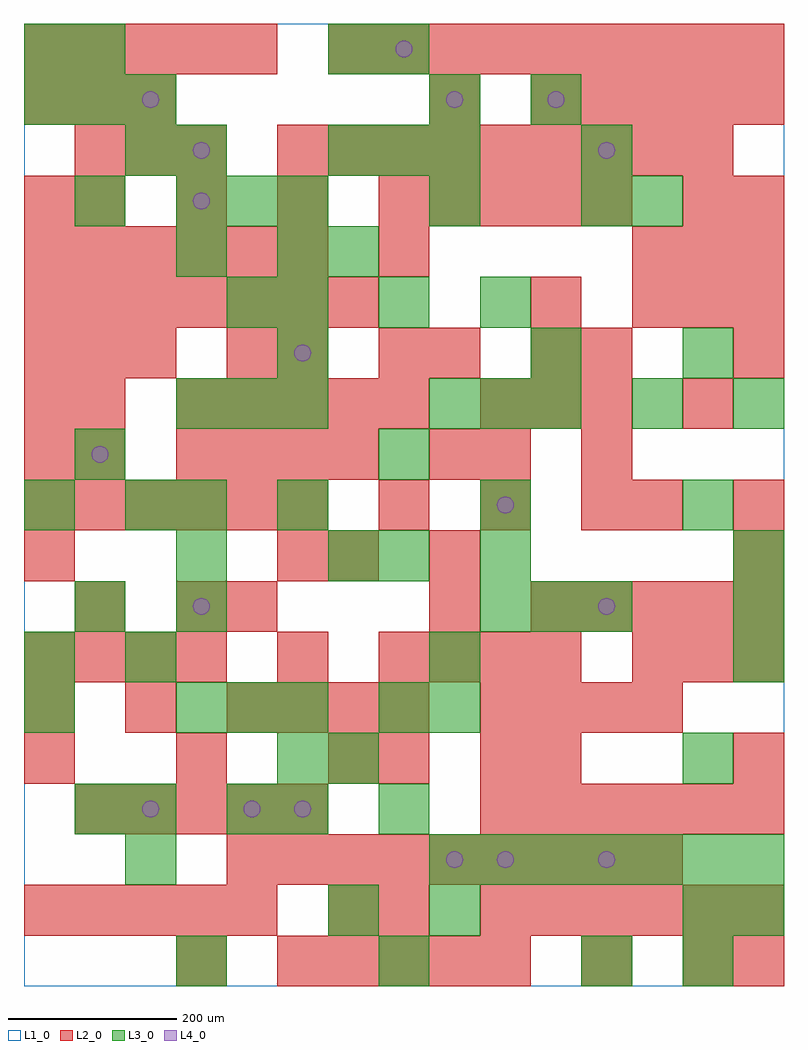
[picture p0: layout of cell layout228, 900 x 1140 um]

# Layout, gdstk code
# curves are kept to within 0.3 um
import gdstk
lib = gdstk.Library(unit=1e-6, precision=1e-09)
def R(c, l, rs):  # rectangles x0, y0, x1, y1
    for r in rs: c.add(gdstk.rectangle(r[:2], r[2:], *l))
def A(c, l, x, y, w, h, nx, ny, dx, dy):  # array of equal rectangles
    R(c, l, [(x+i*dx, y+j*dy, x+i*dx+w, y+j*dy+h) for i in range(nx) for j in range(ny)])
def P(c, l, *ps):  # polygons
    for p in ps: c.add(gdstk.Polygon(p, *l))
L1_0 = (1, 0)
L2_0 = (2, 0)
L3_0 = (3, 0)
L4_0 = (4, 0)

layout228 = lib.new_cell('layout228')
R(layout228, L1_0, [(0,0,900,1140)])
A(layout228, L2_0, 300, 0, 60, 60, 5, 1, 60, 0)
A(layout228, L2_0, 840, 0, 60, 60, 1, 3, 0, 240)
A(layout228, L2_0, 0, 60, 60, 60, 5, 2, 60, 1020)
A(layout228, L2_0, 540, 60, 60, 60, 6, 2, 60, 120)
A(layout228, L2_0, 240, 120, 60, 60, 9, 1, 60, 0)
A(layout228, L2_0, 60, 180, 60, 60, 5, 1, 60, 0)
A(layout228, L2_0, 0, 240, 60, 60, 3, 1, 180, 0)
A(layout228, L2_0, 0, 300, 60, 60, 3, 1, 120, 0)
A(layout228, L2_0, 300, 300, 60, 60, 3, 1, 60, 0)
A(layout228, L2_0, 540, 300, 60, 60, 4, 1, 60, 0)
A(layout228, L2_0, 0, 360, 60, 60, 4, 1, 60, 0)
A(layout228, L2_0, 420, 360, 60, 60, 4, 1, 60, 0)
A(layout228, L2_0, 720, 360, 60, 60, 3, 2, 60, 420)
A(layout228, L2_0, 600, 420, 60, 60, 5, 2, 60, 600)
A(layout228, L2_0, 480, 480, 60, 60, 1, 3, 0, 120)
A(layout228, L2_0, 0, 540, 60, 60, 6, 2, 60, 300)
A(layout228, L2_0, 420, 540, 60, 60, 3, 1, 120, 0)
A(layout228, L2_0, 840, 540, 60, 60, 1, 3, 0, 180)
A(layout228, L2_0, 180, 600, 60, 60, 4, 1, 60, 0)
A(layout228, L2_0, 180, 660, 60, 60, 5, 1, 60, 0)
A(layout228, L2_0, 540, 660, 60, 60, 3, 1, 60, 0)
A(layout228, L2_0, 0, 720, 60, 60, 3, 2, 60, 300)
A(layout228, L2_0, 0, 780, 60, 60, 7, 1, 60, 0)
A(layout228, L2_0, 720, 840, 60, 60, 3, 1, 60, 0)
A(layout228, L2_0, 60, 900, 60, 60, 4, 1, 120, 0)
A(layout228, L2_0, 480, 900, 60, 60, 4, 1, 60, 0)
A(layout228, L2_0, 60, 960, 60, 60, 3, 1, 60, 0)
A(layout228, L2_0, 300, 960, 60, 60, 9, 1, 60, 0)
A(layout228, L2_0, 360, 1080, 60, 60, 9, 1, 60, 0)
R(layout228, L2_0, [(180,0,240,60), (660,0,720,60), (780,0,840,60), (360,60,420,120), (420,60,480,120), (420,240,480,300), (540,240,600,300), (600,240,660,300), (300,360,360,420), (60,420,120,480), (180,420,240,480), (240,420,300,480), (480,420,540,480), (0,480,60,540), (300,480,360,540), (360,480,420,540), (720,540,780,600), (0,600,60,660), (60,600,120,660), (540,600,600,660), (660,600,720,660), (0,660,60,720), (60,660,120,720), (780,660,840,720), (240,720,300,780), (300,720,360,780), (420,720,480,780), (600,720,660,780), (660,720,720,780), (600,780,660,840), (420,840,480,900), (0,900,60,960), (780,900,840,960), (480,1020,540,1080)])
A(layout228, L3_0, 180, 0, 60, 60, 3, 1, 240, 0)
A(layout228, L3_0, 480, 120, 60, 60, 7, 1, 60, 0)
A(layout228, L3_0, 180, 300, 60, 60, 3, 2, 60, 360)
A(layout228, L3_0, 120, 360, 60, 60, 3, 1, 360, 0)
A(layout228, L3_0, 180, 420, 60, 60, 1, 3, 0, 60)
A(layout228, L3_0, 540, 420, 60, 60, 3, 1, 60, 0)
A(layout228, L3_0, 300, 540, 60, 60, 3, 1, 240, 0)
A(layout228, L3_0, 480, 660, 60, 60, 3, 1, 60, 0)
A(layout228, L3_0, 300, 780, 60, 60, 3, 1, 120, 0)
A(layout228, L3_0, 180, 900, 60, 60, 3, 1, 60, 0)
A(layout228, L3_0, 360, 960, 60, 60, 3, 1, 60, 0)
A(layout228, L3_0, 0, 1020, 60, 60, 3, 1, 60, 0)
R(layout228, L3_0, [(780,0,840,60), (360,60,420,120), (480,60,540,120), (780,60,840,120), (840,60,900,120), (120,120,180,180), (60,180,120,240), (120,180,180,240), (240,180,300,240), (300,180,360,240), (420,180,480,240), (300,240,360,300), (360,240,420,300), (780,240,840,300), (0,300,60,360), (420,300,480,360), (480,300,540,360), (0,360,60,420), (60,420,120,480), (840,420,900,480), (360,480,420,540), (420,480,480,540), (540,480,600,540), (840,480,900,540), (0,540,60,600), (120,540,180,600), (60,600,120,660), (420,600,480,660), (720,660,780,720), (840,660,900,720), (300,720,360,780), (600,720,660,780), (780,720,840,780), (240,780,300,840), (180,840,240,900), (300,840,360,900), (360,840,420,900), (60,900,120,960), (480,900,540,960), (660,900,720,960), (720,900,780,960), (120,960,180,1020), (180,960,240,1020), (660,960,720,1020), (480,1020,540,1080), (600,1020,660,1080), (0,1080,60,1140), (60,1080,120,1140), (360,1080,420,1140), (420,1080,480,1140)])
P(layout228, L4_0, [(100,630),(99.239,633.827),(97.071,637.071),(93.827,639.239),(90,640),(86.173,639.239),(82.929,637.071),(80.761,633.827),(80,630),(80.761,626.173),(82.929,622.929),(86.173,620.761),(90,620),(93.827,620.761),(97.071,622.929),(99.239,626.173)],
  [(160,210),(159.239,213.827),(157.071,217.071),(153.827,219.239),(150,220),(146.173,219.239),(142.929,217.071),(140.761,213.827),(140,210),(140.761,206.173),(142.929,202.929),(146.173,200.761),(150,200),(153.827,200.761),(157.071,202.929),(159.239,206.173)],
  [(160,1050),(159.239,1053.827),(157.071,1057.071),(153.827,1059.239),(150,1060),(146.173,1059.239),(142.929,1057.071),(140.761,1053.827),(140,1050),(140.761,1046.173),(142.929,1042.929),(146.173,1040.761),(150,1040),(153.827,1040.761),(157.071,1042.929),(159.239,1046.173)],
  [(220,450),(219.239,453.827),(217.071,457.071),(213.827,459.239),(210,460),(206.173,459.239),(202.929,457.071),(200.761,453.827),(200,450),(200.761,446.173),(202.929,442.929),(206.173,440.761),(210,440),(213.827,440.761),(217.071,442.929),(219.239,446.173)],
  [(220,930),(219.239,933.827),(217.071,937.071),(213.827,939.239),(210,940),(206.173,939.239),(202.929,937.071),(200.761,933.827),(200,930),(200.761,926.173),(202.929,922.929),(206.173,920.761),(210,920),(213.827,920.761),(217.071,922.929),(219.239,926.173)],
  [(220,990),(219.239,993.827),(217.071,997.071),(213.827,999.239),(210,1000),(206.173,999.239),(202.929,997.071),(200.761,993.827),(200,990),(200.761,986.173),(202.929,982.929),(206.173,980.761),(210,980),(213.827,980.761),(217.071,982.929),(219.239,986.173)],
  [(280,210),(279.239,213.827),(277.071,217.071),(273.827,219.239),(270,220),(266.173,219.239),(262.929,217.071),(260.761,213.827),(260,210),(260.761,206.173),(262.929,202.929),(266.173,200.761),(270,200),(273.827,200.761),(277.071,202.929),(279.239,206.173)],
  [(340,210),(339.239,213.827),(337.071,217.071),(333.827,219.239),(330,220),(326.173,219.239),(322.929,217.071),(320.761,213.827),(320,210),(320.761,206.173),(322.929,202.929),(326.173,200.761),(330,200),(333.827,200.761),(337.071,202.929),(339.239,206.173)],
  [(340,750),(339.239,753.827),(337.071,757.071),(333.827,759.239),(330,760),(326.173,759.239),(322.929,757.071),(320.761,753.827),(320,750),(320.761,746.173),(322.929,742.929),(326.173,740.761),(330,740),(333.827,740.761),(337.071,742.929),(339.239,746.173)],
  [(460,1110),(459.239,1113.827),(457.071,1117.071),(453.827,1119.239),(450,1120),(446.173,1119.239),(442.929,1117.071),(440.761,1113.827),(440,1110),(440.761,1106.173),(442.929,1102.929),(446.173,1100.761),(450,1100),(453.827,1100.761),(457.071,1102.929),(459.239,1106.173)],
  [(520,150),(519.239,153.827),(517.071,157.071),(513.827,159.239),(510,160),(506.173,159.239),(502.929,157.071),(500.761,153.827),(500,150),(500.761,146.173),(502.929,142.929),(506.173,140.761),(510,140),(513.827,140.761),(517.071,142.929),(519.239,146.173)],
  [(520,1050),(519.239,1053.827),(517.071,1057.071),(513.827,1059.239),(510,1060),(506.173,1059.239),(502.929,1057.071),(500.761,1053.827),(500,1050),(500.761,1046.173),(502.929,1042.929),(506.173,1040.761),(510,1040),(513.827,1040.761),(517.071,1042.929),(519.239,1046.173)],
  [(580,150),(579.239,153.827),(577.071,157.071),(573.827,159.239),(570,160),(566.173,159.239),(562.929,157.071),(560.761,153.827),(560,150),(560.761,146.173),(562.929,142.929),(566.173,140.761),(570,140),(573.827,140.761),(577.071,142.929),(579.239,146.173)],
  [(580,570),(579.239,573.827),(577.071,577.071),(573.827,579.239),(570,580),(566.173,579.239),(562.929,577.071),(560.761,573.827),(560,570),(560.761,566.173),(562.929,562.929),(566.173,560.761),(570,560),(573.827,560.761),(577.071,562.929),(579.239,566.173)],
  [(640,1050),(639.239,1053.827),(637.071,1057.071),(633.827,1059.239),(630,1060),(626.173,1059.239),(622.929,1057.071),(620.761,1053.827),(620,1050),(620.761,1046.173),(622.929,1042.929),(626.173,1040.761),(630,1040),(633.827,1040.761),(637.071,1042.929),(639.239,1046.173)],
  [(700,150),(699.239,153.827),(697.071,157.071),(693.827,159.239),(690,160),(686.173,159.239),(682.929,157.071),(680.761,153.827),(680,150),(680.761,146.173),(682.929,142.929),(686.173,140.761),(690,140),(693.827,140.761),(697.071,142.929),(699.239,146.173)],
  [(700,450),(699.239,453.827),(697.071,457.071),(693.827,459.239),(690,460),(686.173,459.239),(682.929,457.071),(680.761,453.827),(680,450),(680.761,446.173),(682.929,442.929),(686.173,440.761),(690,440),(693.827,440.761),(697.071,442.929),(699.239,446.173)],
  [(700,990),(699.239,993.827),(697.071,997.071),(693.827,999.239),(690,1000),(686.173,999.239),(682.929,997.071),(680.761,993.827),(680,990),(680.761,986.173),(682.929,982.929),(686.173,980.761),(690,980),(693.827,980.761),(697.071,982.929),(699.239,986.173)])

lib.write_gds('layout228.gds')
